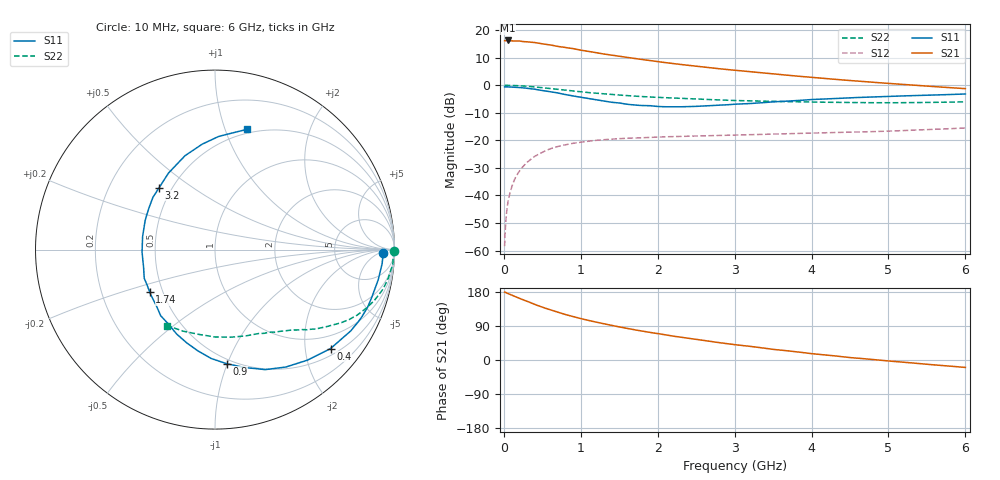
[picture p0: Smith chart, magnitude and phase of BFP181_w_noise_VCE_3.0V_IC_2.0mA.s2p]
! Infineon Technologies  Discrete & RF Semiconductors
! BFP181
! VCE = 3.0 V,  IC =  2.0 mA
! Common Emitter S-Parameters:  Jan 2016
# GHz  S  MA  R  50
!  f  S11  S21  S12  S22
! GHz  MAG  ANG  MAG  ANG  MAG  ANG  MAG  ANG
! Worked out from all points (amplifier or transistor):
!   210 points, 10 MHz to 6 GHz, reference 50 ohm
!   highest |S21| = 16.2 dB at 50 MHz (marker M1)
!   |S21| within 3 dB of that: start of sweep to 906.7 MHz
!   unconditionally stable (mu >= 1): 2.456 GHz to end of sweep
!   at 185 MHz: K = 0.10, MSG = 24.0 dB, |S12| = -31.9 dB
!   at 1.52 GHz: K = 0.69, MSG = 14.9 dB, |S12| = -19.4 dB
!   at 6 GHz: K = 1.14, MAG = 4.9 dB, |S12| = -15.5 dB
!   lowest NFmin = 1.35 dB at 450 MHz
!   S11 on the Smith chart (normalised r, x): 10 MHz: 27, -8; 400 MHz: 0.65, -2.56; 900 MHz: 0.46, -0.99; 1.74 GHz: 0.42, -0.24; 3.2 GHz: 0.43, +0.38; 6 GHz: 0.46, +1.19
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0.01  0.9336 -1.2  6.421 179.3  0.0012 83.9  0.9968 -0.4
0.025  0.9355 -2.7  6.439 178.3  0.0033 87.5  0.9945 -1.2
0.05  0.9345 -4.8  6.489 175.7  0.0071 88.5  0.9937 -2.4
0.11  0.9223 -11.5  6.367 170.6  0.0153 81.7  0.992 -5.2
0.2  0.9089 -20.8  6.358 162.9  0.0274 77.3  0.9789 -9.3
0.4  0.8476 -40.6  5.955 146.7  0.051 66.0  0.9315 -17.8
0.5  0.8029 -50.1  5.648 139.2  0.0607 60.2  0.9016 -21.4
0.6  0.7641 -58.9  5.397 132.6  0.07 55.7  0.8726 -24.7
0.8  0.6769 -76.0  4.866 120.0  0.0832 47.8  0.8134 -30.0
0.9  0.6387 -84.2  4.614 114.4  0.0883 44.3  0.7835 -32.3
1.02  0.5992 -93.5  4.286 108.3  0.0932 40.7  0.7535 -34.8
1.2  0.5435 -106.7  3.887 99.9  0.1001 36.0  0.716 -38.1
1.36  0.5003 -118.5  3.578 93.1  0.1042 32.9  0.6867 -40.5
1.5  0.4767 -129.4  3.363 87.2  0.1071 30.7  0.6619 -42.3
1.74  0.4331 -147.2  3.008 78.3  0.1107 27.5  0.629 -45.4
2.02  0.4101 -165.9  2.658 69.0  0.1152 24.4  0.6 -48.9
2.44  0.4107 167.6  2.26 56.1  0.1196 21.0  0.5649 -54.5
3.1  0.4574 135.9  1.813 38.3  0.1255 17.7  0.5235 -63.9
3.2  0.4648 132.0  1.755 36.0  0.1267 17.4  0.5196 -65.4
4.1  0.5564 105.3  1.353 14.9  0.1363 14.2  0.493 -81.6
5.1  0.6349 86.9  1.054 -4.2  0.1485 12.3  0.4809 -102.6
6  0.6927 75.2  0.867 -19.6  0.1671 9.6  0.5001 -122.2
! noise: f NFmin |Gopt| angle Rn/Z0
0.45  1.35  0.6  17  0.4
0.9  1.45  0.5  36  0.4
1.8  1.8  0.31  80  0.37
